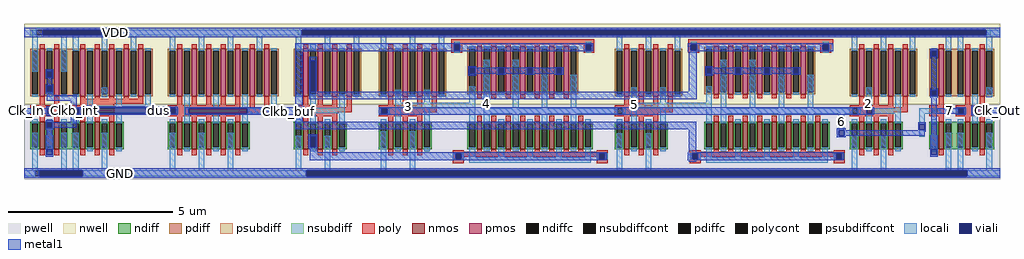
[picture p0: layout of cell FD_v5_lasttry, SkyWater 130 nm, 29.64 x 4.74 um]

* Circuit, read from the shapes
.subckt FD_v5_lasttry Clk_In VDD GND Clk_Out
XM1 Clkb_int Clk_In GND GND sky130_fd_pr__nfet_01v8 w=0.84 l=0.15 m=2
XM2 dus Clkb_int GND GND sky130_fd_pr__nfet_01v8 w=0.84 l=0.15 m=3
XM3 Clkb_buf dus GND GND sky130_fd_pr__nfet_01v8 w=0.84 l=0.15 m=5
XM4 Clk_In_buf Clkb_buf GND GND sky130_fd_pr__nfet_01v8 w=0.84 l=0.15 m=3
XM5 3 2 GND GND sky130_fd_pr__nfet_01v8 w=0.84 l=0.15 m=3
XM6 4 Clk_In_buf 3 GND sky130_fd_pr__nfet_01v8 w=0.84 l=0.15 m=8
XM7 5 4 GND GND sky130_fd_pr__nfet_01v8 w=0.84 l=0.15 m=3
XM8 6 Clkb_buf 5 GND sky130_fd_pr__nfet_01v8 w=0.84 l=0.15 m=8
XM9 2 6 GND GND sky130_fd_pr__nfet_01v8 w=0.84 l=0.15 m=3
XM10 GND 6 7 GND sky130_fd_pr__nfet_01v8 w=0.84 l=0.15
XM11 Clk_Out 7 GND GND sky130_fd_pr__nfet_01v8 w=0.84 l=0.15 m=2
XM12 Clkb_int Clk_In VDD VDD sky130_fd_pr__pfet_01v8 w=1.44 l=0.15 m=2
XM13 dus Clkb_int VDD VDD sky130_fd_pr__pfet_01v8 w=1.44 l=0.15 m=5
XM14 Clkb_buf dus VDD VDD sky130_fd_pr__pfet_01v8 w=1.44 l=0.15 m=7
XM15 Clk_In_buf Clkb_buf VDD VDD sky130_fd_pr__pfet_01v8 w=1.44 l=0.15 m=4
XM16 3 2 VDD VDD sky130_fd_pr__pfet_01v8 w=1.44 l=0.15 m=4
XM17 4 Clkb_buf 3 VDD sky130_fd_pr__pfet_01v8 w=1.44 l=0.15 m=7
XM18 5 4 VDD VDD sky130_fd_pr__pfet_01v8 w=1.44 l=0.15 m=4
XM19 6 Clk_In_buf 5 VDD sky130_fd_pr__pfet_01v8 w=1.44 l=0.15 m=7
XM20 2 6 VDD VDD sky130_fd_pr__pfet_01v8 w=1.44 l=0.15 m=4
XM21 VDD 6 7 VDD sky130_fd_pr__pfet_01v8 w=1.44 l=0.15
XM22 Clk_Out 7 VDD VDD sky130_fd_pr__pfet_01v8 w=1.44 l=0.15 m=2
.ends

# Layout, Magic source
magic
tech sky130A
magscale 1 2
<< nwell >>
rect -383 -58 5544 178
rect -382 -313 5544 -58
<< pwell >>
rect -382 -769 5544 -313
<< ndiff >>
rect -112 -585 -98 -417
rect 5260 -585 5274 -417
<< pdiff >>
rect -112 -263 -98 25
rect 5260 -263 5274 25
<< psubdiff >>
rect -382 -748 -314 -714
rect -27 -748 1331 -714
rect 5345 -748 5544 -714
<< nsubdiff >>
rect -346 107 -309 141
rect 89 107 116 141
rect 1279 107 1303 141
rect 5461 107 5488 141
<< psubdiffcont >>
rect -314 -748 -27 -714
rect 1331 -748 5345 -714
<< nsubdiffcont >>
rect -309 107 89 141
rect 1303 107 5461 141
<< poly >>
rect 2213 52 2368 82
rect 2926 52 3081 82
rect 2213 51 2279 52
rect 2213 17 2229 51
rect 2263 17 2279 51
rect 2213 1 2279 17
rect 3015 51 3081 52
rect 3015 17 3029 51
rect 3063 17 3081 51
rect 3015 1 3081 17
rect 3651 52 3806 82
rect 4364 52 4531 82
rect 3651 51 3717 52
rect 3651 17 3667 51
rect 3701 17 3717 51
rect 3651 1 3717 17
rect 4453 51 4519 52
rect 4453 17 4469 51
rect 4503 17 4519 51
rect 4453 1 4519 17
rect -40 -319 166 -308
rect 2222 -600 2289 -593
rect 3095 -600 3162 -593
rect 2222 -611 2368 -600
rect 2222 -645 2238 -611
rect 2272 -630 2368 -611
rect 3014 -611 3162 -600
rect 3014 -630 3111 -611
rect 2272 -645 2289 -630
rect 2222 -669 2289 -645
rect 3095 -645 3111 -630
rect 3145 -645 3162 -611
rect 3095 -669 3162 -645
rect 3660 -600 3727 -593
rect 4533 -600 4600 -593
rect 3660 -611 3806 -600
rect 3660 -645 3676 -611
rect 3710 -630 3806 -611
rect 4452 -611 4600 -600
rect 4452 -630 4549 -611
rect 3710 -645 3727 -630
rect 3660 -669 3727 -645
rect 4533 -645 4549 -630
rect 4583 -645 4600 -611
rect 4533 -669 4600 -645
<< polycont >>
rect 2229 17 2263 51
rect 3029 17 3063 51
rect 3667 17 3701 51
rect 4469 17 4503 51
rect 2238 -645 2272 -611
rect 3111 -645 3145 -611
rect 3676 -645 3710 -611
rect 4549 -645 4583 -611
<< locali >>
rect -334 107 -309 141
rect 89 107 1303 141
rect 5461 107 5544 141
rect -334 -115 -300 107
rect -158 -115 -124 107
rect -86 13 -52 107
rect 90 13 124 107
rect 266 13 300 107
rect 501 13 535 107
rect 677 13 711 107
rect 853 13 887 107
rect 1029 13 1063 107
rect 1268 13 1302 107
rect 1356 17 1390 51
rect 1444 13 1478 107
rect 1620 13 1654 107
rect 1784 29 1818 107
rect 1960 13 1994 107
rect 2136 13 2170 107
rect 2229 51 2263 67
rect 2229 1 2263 17
rect 3029 51 3063 67
rect 3029 1 3063 17
rect 3216 13 3250 107
rect 3392 13 3426 107
rect 3568 13 3602 107
rect 3667 51 3701 67
rect 3667 1 3701 17
rect 4469 51 4503 67
rect 4469 1 4503 17
rect 4643 13 4677 107
rect 4819 13 4853 107
rect 4995 13 5029 107
rect 5214 13 5248 107
rect 5286 13 5320 107
rect 5462 13 5496 107
rect -246 -262 -212 -235
rect 2 -322 36 -267
rect 90 -270 124 -209
rect 2410 -83 2444 -42
rect 2586 -83 2620 -42
rect 3848 -83 3882 -42
rect 4024 -83 4058 -42
rect 2410 -92 2414 -83
rect 3848 -92 3852 -83
rect 2410 -134 2414 -126
rect 3848 -134 3852 -126
rect 178 -322 212 -266
rect 354 -322 388 -267
rect 2 -334 388 -322
rect -346 -369 -242 -335
rect 355 -356 388 -334
rect 589 -335 623 -267
rect 765 -335 799 -251
rect 941 -335 975 -265
rect 1117 -335 1151 -267
rect 1356 -334 1390 -267
rect 1532 -334 1566 -251
rect 2 -403 36 -368
rect 178 -403 212 -368
rect 589 -369 619 -335
rect 973 -369 1151 -335
rect 1356 -368 1566 -334
rect 1872 -303 1906 -225
rect 2048 -303 2082 -225
rect 2322 -303 2356 -202
rect 589 -403 623 -369
rect 765 -429 799 -369
rect 941 -415 975 -369
rect 1356 -403 1390 -368
rect 1532 -429 1566 -368
rect 1872 -337 2356 -303
rect 1872 -403 1906 -337
rect 2048 -429 2082 -337
rect 2322 -413 2356 -337
rect 2410 -335 2444 -134
rect 2586 -335 2620 -134
rect 2762 -335 2796 -134
rect 2938 -335 2972 -134
rect 3304 -303 3338 -209
rect 3480 -303 3514 -209
rect 3760 -303 3794 -202
rect 2410 -369 3208 -335
rect 3304 -337 3794 -303
rect 2410 -415 2444 -369
rect 2586 -415 2620 -369
rect 2762 -417 2796 -369
rect 2938 -429 2972 -369
rect 3304 -403 3338 -337
rect 3480 -429 3514 -337
rect 3760 -413 3794 -337
rect 3848 -335 3882 -134
rect 4024 -335 4058 -134
rect 4200 -335 4234 -134
rect 4376 -335 4410 -134
rect 4731 -335 4765 -209
rect 4907 -335 4941 -267
rect 5374 -334 5408 -267
rect 5462 -270 5496 -209
rect 3848 -369 4631 -335
rect 4731 -369 4734 -335
rect 4768 -369 4941 -335
rect 3848 -415 3882 -369
rect 4024 -415 4058 -369
rect 4200 -417 4234 -369
rect 4376 -429 4410 -369
rect -246 -470 -212 -456
rect 4564 -470 4598 -369
rect 4731 -403 4765 -369
rect 4907 -403 4941 -369
rect 5054 -369 5114 -335
rect 5129 -369 5163 -335
rect -334 -714 -300 -486
rect -246 -585 -212 -477
rect -158 -714 -124 -486
rect -86 -714 -52 -486
rect 90 -714 124 -486
rect 501 -714 535 -486
rect 677 -714 711 -486
rect 853 -714 887 -486
rect 1268 -714 1302 -503
rect 1444 -714 1478 -503
rect 1784 -714 1818 -477
rect 1960 -714 1994 -477
rect 2222 -645 2238 -611
rect 2272 -645 2288 -611
rect 2322 -633 2356 -599
rect 2498 -633 2532 -599
rect 2674 -633 2708 -573
rect 2850 -633 2884 -573
rect 3026 -633 3060 -573
rect 2322 -667 3060 -633
rect 3095 -645 3111 -611
rect 3145 -645 3161 -611
rect 3216 -714 3250 -488
rect 3392 -714 3426 -488
rect 5054 -433 5088 -369
rect 5374 -403 5408 -368
rect 3660 -645 3676 -611
rect 3710 -645 3726 -611
rect 3760 -633 3794 -599
rect 3936 -633 3970 -599
rect 4112 -633 4146 -573
rect 4288 -633 4322 -573
rect 4464 -633 4498 -573
rect 3760 -667 4498 -633
rect 4533 -645 4549 -611
rect 4583 -645 4599 -611
rect 4643 -714 4677 -501
rect 4819 -714 4853 -501
rect 5054 -510 5088 -467
rect 5126 -470 5160 -436
rect 5126 -585 5160 -477
rect 5214 -714 5248 -486
rect 5286 -714 5320 -486
rect 5462 -714 5496 -486
rect -382 -748 -314 -714
rect -27 -748 1331 -714
rect 5345 -748 5544 -714
<< viali >>
rect -270 107 89 141
rect 1303 107 5461 141
rect -246 -147 -212 -113
rect 2229 17 2263 51
rect 3029 17 3063 51
rect 3667 17 3701 51
rect 4469 17 4503 51
rect 5126 -21 5160 13
rect -246 -235 -212 -201
rect 1356 -235 1390 -49
rect 2322 -126 2356 -92
rect 2498 -126 2532 -92
rect 2674 -126 2708 -92
rect 2849 -126 2883 -92
rect 3760 -126 3794 -92
rect 3936 -126 3970 -92
rect 4112 -126 4146 -92
rect 4288 -126 4322 -92
rect -242 -369 -208 -335
rect -82 -369 -48 -335
rect 2 -368 355 -334
rect 504 -369 538 -335
rect 619 -369 973 -335
rect 1272 -369 1306 -335
rect -246 -456 -212 -422
rect 1788 -369 1822 -335
rect 5126 -262 5160 -228
rect 4734 -369 4768 -335
rect 5290 -369 5324 -335
rect 5374 -368 5408 -334
rect -246 -619 -212 -585
rect 1356 -574 1390 -508
rect 2238 -645 2272 -611
rect 3111 -645 3145 -611
rect 4564 -504 4598 -470
rect 5054 -467 5088 -433
rect 3676 -645 3710 -611
rect 4549 -645 4583 -611
rect 5126 -619 5160 -585
rect -289 -748 -27 -714
rect 1331 -748 5345 -714
<< metal1 >>
rect -383 141 5544 153
rect -383 107 -270 141
rect 89 107 1303 141
rect 5461 107 5544 141
rect -383 95 5544 107
rect 1265 51 3075 57
rect 1265 17 2229 51
rect 2263 17 3029 51
rect 3063 17 3075 51
rect 1265 11 3075 17
rect 3647 51 4531 57
rect 3647 17 3667 51
rect 3701 17 4469 51
rect 4503 17 4531 51
rect 3647 11 4531 17
rect 5120 13 5166 25
rect -252 -113 -206 -101
rect -252 -147 -246 -113
rect -212 -147 -206 -113
rect -252 -159 -206 -147
rect -246 -189 -212 -159
rect -252 -201 -206 -189
rect -252 -235 -246 -201
rect -212 -235 -206 -201
rect -252 -247 -206 -235
rect -246 -258 -206 -247
rect -246 -292 -64 -258
rect -248 -335 -202 -323
rect -382 -369 -242 -335
rect -208 -369 -202 -335
rect -248 -381 -202 -369
rect -98 -329 -64 -292
rect -4 -327 42 -322
rect 1265 -325 1311 11
rect 1350 -49 1396 -23
rect 1350 -235 1356 -49
rect 1390 -235 1396 -49
rect 2316 -92 2362 -80
rect 2486 -92 2544 -86
rect 2662 -92 2720 -86
rect 2837 -92 2895 -86
rect 2316 -126 2322 -92
rect 2356 -126 2498 -92
rect 2532 -126 2674 -92
rect 2708 -126 2849 -92
rect 2883 -126 2895 -92
rect 2316 -138 2362 -126
rect 2486 -132 2544 -126
rect 2662 -132 2720 -126
rect 2837 -132 2895 -126
rect 1350 -236 1396 -235
rect 3655 -236 3701 11
rect 5120 -21 5126 13
rect 5160 -21 5166 13
rect 5120 -33 5166 -21
rect 3754 -92 3800 -80
rect 3924 -92 3982 -86
rect 4100 -92 4158 -86
rect 4276 -92 4334 -86
rect 3754 -126 3760 -92
rect 3794 -126 3936 -92
rect 3970 -126 4112 -92
rect 4146 -126 4288 -92
rect 4322 -126 4334 -92
rect 3754 -138 3800 -126
rect 3924 -132 3982 -126
rect 4100 -132 4158 -126
rect 4276 -132 4334 -126
rect 5126 -216 5160 -33
rect 1350 -282 3701 -236
rect 5120 -228 5166 -216
rect 5120 -262 5126 -228
rect 5160 -262 5166 -228
rect 5120 -274 5166 -262
rect -98 -335 -36 -329
rect -98 -369 -82 -335
rect -48 -369 -36 -335
rect -98 -375 -36 -369
rect -4 -334 550 -327
rect 1258 -329 1319 -325
rect -4 -368 2 -334
rect 355 -335 550 -334
rect 355 -368 504 -335
rect -4 -369 504 -368
rect 538 -369 550 -335
rect -4 -375 550 -369
rect 596 -335 1319 -329
rect 596 -369 619 -335
rect 973 -369 1272 -335
rect 1306 -369 1319 -335
rect 596 -375 1319 -369
rect 1772 -335 4780 -329
rect 1772 -369 1788 -335
rect 1822 -369 4734 -335
rect 4768 -369 4780 -335
rect 1772 -375 4780 -369
rect 5126 -335 5160 -274
rect 5278 -335 5336 -329
rect 5126 -369 5290 -335
rect 5324 -369 5336 -335
rect -252 -422 -206 -410
rect -98 -422 -64 -375
rect -4 -380 42 -375
rect 1258 -378 1319 -375
rect -252 -456 -246 -422
rect -212 -456 -64 -422
rect 1265 -419 1311 -378
rect -252 -468 -206 -456
rect 1265 -465 3699 -419
rect 5048 -433 5094 -421
rect -246 -501 -212 -468
rect -252 -585 -206 -501
rect 1344 -508 1399 -493
rect 1344 -574 1356 -508
rect 1390 -574 1399 -508
rect 1344 -580 1399 -574
rect -252 -619 -246 -585
rect -212 -619 -206 -585
rect -252 -631 -206 -619
rect 1353 -605 1399 -580
rect 3653 -605 3699 -465
rect 4552 -470 4608 -458
rect 5048 -467 5054 -433
rect 5088 -467 5094 -433
rect 5048 -470 5094 -467
rect 4552 -504 4564 -470
rect 4598 -479 5094 -470
rect 4598 -504 5088 -479
rect 5126 -501 5160 -369
rect 5278 -375 5336 -369
rect 5368 -334 5414 -322
rect 5368 -368 5374 -334
rect 5408 -368 5544 -334
rect 5368 -380 5414 -368
rect 4552 -512 4608 -504
rect 5120 -585 5166 -501
rect 1353 -611 3157 -605
rect 1353 -645 2238 -611
rect 2272 -645 3111 -611
rect 3145 -645 3157 -611
rect 1353 -651 3157 -645
rect 3647 -611 4595 -605
rect 3647 -645 3676 -611
rect 3710 -645 4549 -611
rect 4583 -645 4595 -611
rect 5120 -619 5126 -585
rect 5160 -619 5166 -585
rect 5120 -631 5166 -619
rect 3647 -651 4595 -645
rect 3653 -660 3699 -651
rect -382 -714 5544 -702
rect -382 -748 -289 -714
rect -27 -748 1331 -714
rect 5345 -748 5544 -714
rect -382 -760 5544 -748
use sky130_fd_pr__pfet_01v8_A2DS5R  sky130_fd_pr__pfet_01v8_A2DS5R_0
transform 1 0 -25 0 1 -227
box -109 -86 461 314
use sky130_fd_pr__nfet_01v8_PW8BNL  sky130_fd_pr__nfet_01v8_PW8BNL_0
transform 1 0 -273 0 1 -422
box -73 -199 161 103
use sky130_fd_pr__pfet_01v8_A1DS5R  sky130_fd_pr__pfet_01v8_A1DS5R_0
transform 1 0 -273 0 1 -227
box -109 -133 197 314
use sky130_fd_pr__nfet_01v8_PW6BNL  sky130_fd_pr__nfet_01v8_PW6BNL_0
transform 1 0 -25 0 1 -422
box -73 -199 249 103
use sky130_fd_pr__nfet_01v8_PW4BNL  sky130_fd_pr__nfet_01v8_PW4BNL_0
transform 1 0 562 0 1 -422
box -73 -199 425 103
use sky130_fd_pr__pfet_01v8_A4DS5R  sky130_fd_pr__pfet_01v8_A4DS5R_0
transform 1 0 562 0 1 -227
box -109 -133 637 314
use sky130_fd_pr__pfet_01v8_A8DS5R  MPClkin
transform 1 0 1329 0 1 -227
box -109 -133 373 314
use sky130_fd_pr__nfet_01v8_PW6BNL  MNClkin
transform 1 0 1329 0 1 -422
box -73 -199 249 103
use sky130_fd_pr__nfet_01v8_PW6BNL  MNinv1
transform 1 0 1845 0 1 -422
box -73 -199 249 103
use sky130_fd_pr__pfet_01v8_A8DS5R  MPinv1
transform 1 0 1845 0 1 -227
box -109 -133 373 314
use sky130_fd_pr__pfet_01v8_B2DS5R  sky130_fd_pr__pfet_01v8_B2DS5R_0
transform 1 0 2383 0 -1 1
box -109 -86 637 314
use sky130_fd_pr__nfet_01v8_PW9BNL  MNTgate1
transform 1 0 2383 0 -1 -580
box -73 -199 689 50
use sky130_fd_pr__pfet_01v8_A8DS5R  MPinv2
transform 1 0 3277 0 1 -227
box -109 -133 373 314
use sky130_fd_pr__nfet_01v8_PW6BNL  MNinv2
transform 1 0 3277 0 1 -422
box -73 -199 249 103
use sky130_fd_pr__pfet_01v8_B2DS5R  sky130_fd_pr__pfet_01v8_B2DS5R_1
transform 1 0 3821 0 -1 1
box -109 -86 637 314
use sky130_fd_pr__nfet_01v8_PW9BNL  MNTgate2
transform 1 0 3821 0 -1 -580
box -73 -199 689 50
use sky130_fd_pr__nfet_01v8_PW6BNL  MNfb
transform 1 0 4704 0 1 -422
box -73 -199 249 103
use sky130_fd_pr__pfet_01v8_A8DS5R  MPfb
transform 1 0 4704 0 1 -227
box -109 -133 373 314
use sky130_fd_pr__pfet_01v8_A9DS5R  MPbuf1
transform 1 0 5187 0 1 -227
box -109 -133 109 314
use sky130_fd_pr__nfet_01v8_PW7BNL  MNbuf1
transform 1 0 5187 0 1 -422
box -73 -199 73 103
use sky130_fd_pr__pfet_01v8_A1DS5R  MPbuf2
transform 1 0 5347 0 1 -227
box -109 -133 197 314
use sky130_fd_pr__nfet_01v8_PW8BNL  MNbuf2
transform 1 0 5347 0 1 -422
box -73 -199 161 103
<< labels >>
rlabel metal1 -382 -369 -357 -335 1 Clk_In
port 1 n
rlabel metal1 -95 -364 -56 -332 1 Clkb_int
rlabel metal1 184 -760 218 -702 1 GND
port 3 n
rlabel metal1 156 95 190 153 1 VDD
port 2 n
rlabel locali 1938 -335 1963 -311 1 3
rlabel locali 2416 -321 2441 -297 1 4
rlabel locali 3309 -323 3334 -299 1 5
rlabel locali 4735 -321 4760 -297 1 2
rlabel locali 4568 -430 4592 -404 1 6
rlabel metal1 5224 -363 5249 -339 1 7
rlabel metal1 5510 -368 5544 -334 1 Clk_Out
port 4 n
rlabel metal1 1209 -365 1238 -342 1 Clkb_buf
rlabel locali 1359 -328 1387 -296 1 Clk_In_buf
rlabel metal1 416 -366 453 -336 1 dus
<< properties >>
string LEFsite unithddb1
string LEFclass CORE
<< end >>

# cell sky130_fd_pr__pfet_01v8_A2DS5R: kit device sky130_fd_pr__pfet_01v8, w 0.72 l 0.15 m 1 nf 1 diffcov 100 polycov 100 guard 0 glc 0 grc 0 gtc 0 gbc 0 tbcov 100 rlcov 100 topc 0 botc 1 poverlap 0 doverlap 1 lmin 0.15 wmin 0.42 compatible {sky130_fd_pr__pfet_01v8 sky130_fd_pr__pfet_01v8_lvt sky130_fd_pr__pfet_01v8_hvt sky130_fd_pr__pfet_g5v0d10v5} full_metal 0 viasrc 100 viadrn 100 viagate 100 viagb 0 viagr 0 viagl 0 viagt 0

# cell sky130_fd_pr__nfet_01v8_PW8BNL: kit device sky130_fd_pr__nfet_01v8, w 0.460 l 0.150 m 1 nf 1 diffcov 100 polycov 100 guard 0 glc 0 grc 0 gtc 0 gbc 0 tbcov 100 rlcov 100 topc 1 botc 0 poverlap 0 doverlap 1 lmin 0.15 wmin 0.42 compatible {sky130_fd_pr__nfet_01v8 sky130_fd_pr__nfet_01v8_lvt sky130_fd_bs_flash__special_sonosfet_star sky130_fd_pr__nfet_g5v0d10v5 sky130_fd_pr__nfet_05v0_nvt sky130_fd_pr__nfet_03v3_nvt} full_metal 0 viasrc 100 viadrn 100 viagate 100 viagb 0 viagr 0 viagl 0 viagt 0

# cell sky130_fd_pr__pfet_01v8_A1DS5R: kit device sky130_fd_pr__pfet_01v8, w 0.72 l 0.15 m 1 nf 1 diffcov 100 polycov 100 guard 0 glc 0 grc 0 gtc 0 gbc 0 tbcov 100 rlcov 100 topc 0 botc 1 poverlap 0 doverlap 1 lmin 0.15 wmin 0.42 compatible {sky130_fd_pr__pfet_01v8 sky130_fd_pr__pfet_01v8_lvt sky130_fd_pr__pfet_01v8_hvt sky130_fd_pr__pfet_g5v0d10v5} full_metal 0 viasrc 100 viadrn 100 viagate 100 viagb 0 viagr 0 viagl 0 viagt 0

# cell sky130_fd_pr__nfet_01v8_PW6BNL: kit device sky130_fd_pr__nfet_01v8, w 0.460 l 0.150 m 1 nf 1 diffcov 100 polycov 100 guard 0 glc 0 grc 0 gtc 0 gbc 0 tbcov 100 rlcov 100 topc 1 botc 0 poverlap 0 doverlap 1 lmin 0.15 wmin 0.42 compatible {sky130_fd_pr__nfet_01v8 sky130_fd_pr__nfet_01v8_lvt sky130_fd_bs_flash__special_sonosfet_star sky130_fd_pr__nfet_g5v0d10v5 sky130_fd_pr__nfet_05v0_nvt sky130_fd_pr__nfet_03v3_nvt} full_metal 0 viasrc 100 viadrn 100 viagate 100 viagb 0 viagr 0 viagl 0 viagt 0

# cell sky130_fd_pr__nfet_01v8_PW4BNL: kit device sky130_fd_pr__nfet_01v8, w 0.460 l 0.150 m 1 nf 1 diffcov 100 polycov 100 guard 0 glc 0 grc 0 gtc 0 gbc 0 tbcov 100 rlcov 100 topc 1 botc 0 poverlap 0 doverlap 1 lmin 0.15 wmin 0.42 compatible {sky130_fd_pr__nfet_01v8 sky130_fd_pr__nfet_01v8_lvt sky130_fd_bs_flash__special_sonosfet_star sky130_fd_pr__nfet_g5v0d10v5 sky130_fd_pr__nfet_05v0_nvt sky130_fd_pr__nfet_03v3_nvt} full_metal 0 viasrc 100 viadrn 100 viagate 100 viagb 0 viagr 0 viagl 0 viagt 0

# cell sky130_fd_pr__pfet_01v8_A4DS5R: kit device sky130_fd_pr__pfet_01v8, w 0.72 l 0.15 m 1 nf 1 diffcov 100 polycov 100 guard 0 glc 0 grc 0 gtc 0 gbc 0 tbcov 100 rlcov 100 topc 0 botc 1 poverlap 0 doverlap 1 lmin 0.15 wmin 0.42 compatible {sky130_fd_pr__pfet_01v8 sky130_fd_pr__pfet_01v8_lvt sky130_fd_pr__pfet_01v8_hvt sky130_fd_pr__pfet_g5v0d10v5} full_metal 0 viasrc 100 viadrn 100 viagate 100 viagb 0 viagr 0 viagl 0 viagt 0

# cell sky130_fd_pr__pfet_01v8_A8DS5R: kit device sky130_fd_pr__pfet_01v8, w 0.72 l 0.15 m 1 nf 1 diffcov 100 polycov 100 guard 0 glc 0 grc 0 gtc 0 gbc 0 tbcov 100 rlcov 100 topc 0 botc 1 poverlap 0 doverlap 1 lmin 0.15 wmin 0.42 compatible {sky130_fd_pr__pfet_01v8 sky130_fd_pr__pfet_01v8_lvt sky130_fd_pr__pfet_01v8_hvt sky130_fd_pr__pfet_g5v0d10v5} full_metal 0 viasrc 100 viadrn 100 viagate 100 viagb 0 viagr 0 viagl 0 viagt 0

# cell sky130_fd_pr__pfet_01v8_B2DS5R: kit device sky130_fd_pr__pfet_01v8, w 0.72 l 0.15 m 1 nf 1 diffcov 100 polycov 100 guard 0 glc 0 grc 0 gtc 0 gbc 0 tbcov 100 rlcov 100 topc 0 botc 1 poverlap 0 doverlap 1 lmin 0.15 wmin 0.42 compatible {sky130_fd_pr__pfet_01v8 sky130_fd_pr__pfet_01v8_lvt sky130_fd_pr__pfet_01v8_hvt sky130_fd_pr__pfet_g5v0d10v5} full_metal 0 viasrc 100 viadrn 100 viagate 100 viagb 0 viagr 0 viagl 0 viagt 0

# cell sky130_fd_pr__nfet_01v8_PW9BNL: kit device sky130_fd_pr__nfet_01v8, w 0.460 l 0.150 m 1 nf 1 diffcov 100 polycov 100 guard 0 glc 0 grc 0 gtc 0 gbc 0 tbcov 100 rlcov 100 topc 1 botc 0 poverlap 0 doverlap 1 lmin 0.15 wmin 0.42 compatible {sky130_fd_pr__nfet_01v8 sky130_fd_pr__nfet_01v8_lvt sky130_fd_bs_flash__special_sonosfet_star sky130_fd_pr__nfet_g5v0d10v5 sky130_fd_pr__nfet_05v0_nvt sky130_fd_pr__nfet_03v3_nvt} full_metal 0 viasrc 100 viadrn 100 viagate 100 viagb 0 viagr 0 viagl 0 viagt 0

# cell sky130_fd_pr__pfet_01v8_A9DS5R: kit device sky130_fd_pr__pfet_01v8, w 0.72 l 0.15 m 1 nf 1 diffcov 100 polycov 100 guard 0 glc 0 grc 0 gtc 0 gbc 0 tbcov 100 rlcov 100 topc 0 botc 1 poverlap 0 doverlap 1 lmin 0.15 wmin 0.42 compatible {sky130_fd_pr__pfet_01v8 sky130_fd_pr__pfet_01v8_lvt sky130_fd_pr__pfet_01v8_hvt sky130_fd_pr__pfet_g5v0d10v5} full_metal 0 viasrc 100 viadrn 100 viagate 100 viagb 0 viagr 0 viagl 0 viagt 0

# cell sky130_fd_pr__nfet_01v8_PW7BNL: kit device sky130_fd_pr__nfet_01v8, w 0.460 l 0.150 m 1 nf 1 diffcov 100 polycov 100 guard 0 glc 0 grc 0 gtc 0 gbc 0 tbcov 100 rlcov 100 topc 1 botc 0 poverlap 0 doverlap 1 lmin 0.15 wmin 0.42 compatible {sky130_fd_pr__nfet_01v8 sky130_fd_pr__nfet_01v8_lvt sky130_fd_bs_flash__special_sonosfet_star sky130_fd_pr__nfet_g5v0d10v5 sky130_fd_pr__nfet_05v0_nvt sky130_fd_pr__nfet_03v3_nvt} full_metal 0 viasrc 100 viadrn 100 viagate 100 viagb 0 viagr 0 viagl 0 viagt 0
